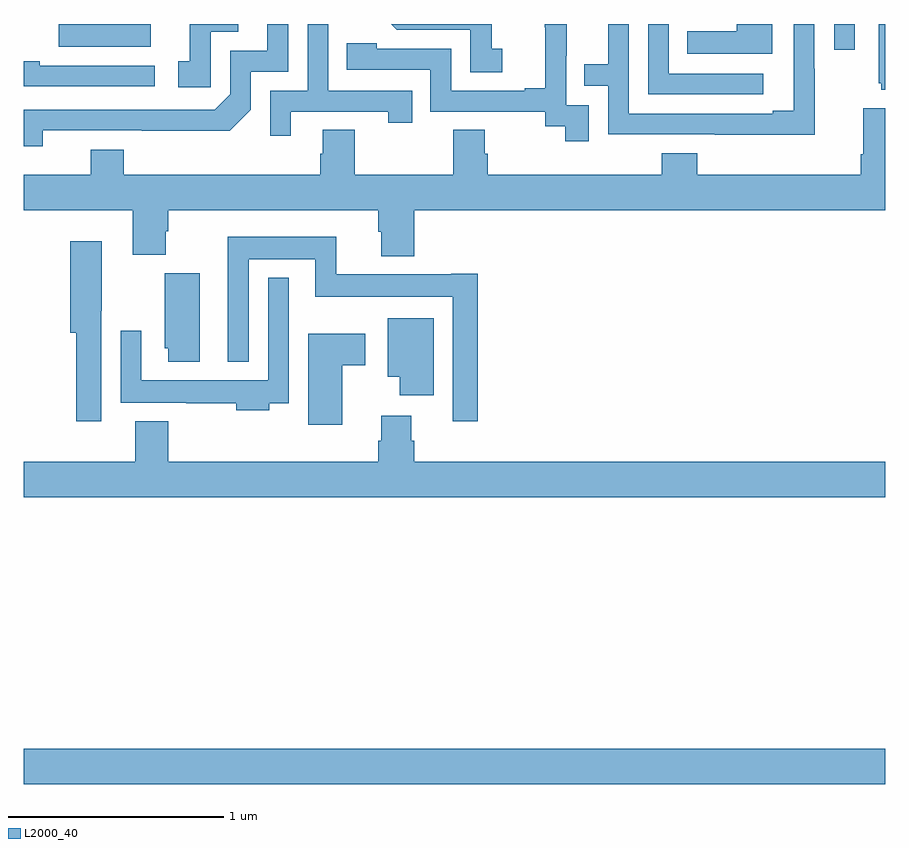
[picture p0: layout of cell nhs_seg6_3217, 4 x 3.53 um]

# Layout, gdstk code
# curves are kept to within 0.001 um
import gdstk
lib = gdstk.Library(unit=1e-6, precision=1e-09)
def R(c, l, rs):  # rectangles x0, y0, x1, y1
    for r in rs: c.add(gdstk.rectangle(r[:2], r[2:], *l))
def P(c, l, *ps):  # polygons
    for p in ps: c.add(gdstk.Polygon(p, *l))
L2000_40 = (2000, 40)

nhs_seg6_3217 = lib.new_cell('nhs_seg6_3217')
R(nhs_seg6_3217, L2000_40, [(299,977.972,303,978.136), (302.763,981.381,302.859,981.5)])
P(nhs_seg6_3217, L2000_40, [(301.222,981.385),(301.173,981.385),(301.173,981.5),(300.706,981.5),(300.732,981.474),(301.074,981.474),(301.074,981.276),(301.222,981.276)],
  [(302.673,981.293),(302.67,981.293),(302.67,981.5),(302.574,981.5),(302.574,981.097),(302.477,981.097),(302.477,981.084),(301.809,981.084),(301.809,981.5),(301.713,981.5),(301.713,981.314),(301.603,981.314),(301.603,981.213),(301.713,981.213),(301.713,980.988),(302.209,980.988),(302.209,980.987),(302.673,980.987)],
  [(299.868,981.465),(299.997,981.465),(299.997,981.5),(299.771,981.5),(299.771,981.327),(299.718,981.327),(299.718,981.207),(299.868,981.207)],
  [(302.434,981.27),(301.995,981.27),(301.995,981.5),(301.899,981.5),(301.899,981.174),(302.434,981.174)],
  [(302.476,981.5),(302.337,981.5),(302.337,981.498),(302.311,981.498),(302.311,981.466),(302.08,981.466),(302.08,981.362),(302.476,981.362)],
  [(299.088,981.006),(299.956,981.005),(300.054,981.102),(300.054,981.279),(300.228,981.279),(300.228,981.5),(300.131,981.5),(300.131,981.375),(299.958,981.375),(299.958,981.174),(299.886,981.102),(299,981.102),(299,980.933),(299.088,980.933)],
  [(301.623,981.123),(301.518,981.123),(301.518,981.353),(301.52,981.353),(301.52,981.5),(301.42,981.5),(301.42,981.485),(301.421,981.485),(301.421,981.202),(301.325,981.202),(301.325,981.189),(300.984,981.189),(300.984,981.384),(300.639,981.384),(300.639,981.411),(300.499,981.411),(300.499,981.288),(300.888,981.288),(300.888,981.093),(301.422,981.093),(301.422,981.025),(301.515,981.025),(301.515,980.955),(301.623,980.955)],
  [(300.241,981.093),(300.692,981.093),(300.692,981.042),(300.803,981.042),(300.803,981.189),(300.414,981.189),(300.414,981.5),(300.318,981.5),(300.318,981.189),(300.144,981.189),(300.144,980.982),(300.241,980.982)],
  [(303,981.5),(302.969,981.5),(302.969,981.225),(302.981,981.225),(302.981,981.194),(303,981.194)],
  [(299.59,981.5),(299.306,981.5),(299.306,981.499),(299.163,981.499),(299.163,981.395),(299.59,981.395)],
  [(299.608,981.306),(299.075,981.306),(299.075,981.326),(299,981.326),(299,981.21),(299.608,981.21)],
  [(300.812,980.636),(303,980.636),(303,981.109),(302.897,981.109),(302.897,980.896),(302.885,980.896),(302.885,980.8),(302.126,980.8),(302.126,980.899),(301.961,980.899),(301.961,980.8),(301.154,980.8),(301.154,980.898),(301.141,980.898),(301.141,981.008),(300.994,981.008),(300.994,980.8),(300.537,980.8),(300.537,981.008),(300.389,981.008),(300.389,980.898),(300.377,980.898),(300.377,980.8),(299.465,980.8),(299.465,980.917),(299.312,980.917),(299.312,980.8),(299,980.8),(299,980.636),(299.507,980.636),(299.507,980.428),(299.659,980.428),(299.659,980.537),(299.672,980.537),(299.672,980.636),(300.647,980.636),(300.647,980.535),(300.659,980.535),(300.659,980.423),(300.812,980.423)],
  [(301.109,980.341),(300.986,980.341),(300.986,980.338),(300.452,980.338),(300.452,980.512),(299.948,980.512),(299.948,979.931),(300.045,979.931),(300.045,980.408),(300.354,980.408),(300.354,980.234),(300.993,980.234),(300.993,979.656),(301.109,979.656)],
  [(299.361,980.17),(299.362,980.17),(299.362,980.491),(299.216,980.491),(299.216,980.066),(299.245,980.066),(299.245,979.656),(299.361,979.656)],
  [(299.818,980.343),(299.654,980.343),(299.654,979.995),(299.672,979.995),(299.672,979.932),(299.818,979.932)],
  [(300.139,979.74),(300.231,979.74),(300.231,980.323),(300.135,980.323),(300.135,979.846),(299.547,979.846),(299.547,980.077),(299.451,980.077),(299.451,979.742),(299.755,979.742),(299.755,979.74),(299.987,979.74),(299.987,979.706),(300.139,979.706)],
  [(300.904,980.134),(300.689,980.134),(300.689,979.862),(300.746,979.862),(300.746,979.776),(300.904,979.776)],
  [(300.478,979.915),(300.586,979.915),(300.586,980.062),(300.32,980.062),(300.32,979.64),(300.478,979.64)],
  [(303,979.468),(300.812,979.468),(300.812,979.566),(300.799,979.566),(300.799,979.681),(300.659,979.681),(300.659,979.566),(300.647,979.566),(300.647,979.468),(299.672,979.468),(299.672,979.657),(299.519,979.657),(299.519,979.468),(299,979.468),(299,979.304),(303,979.304)])

lib.write_gds('nhs_seg6_3217.gds')
